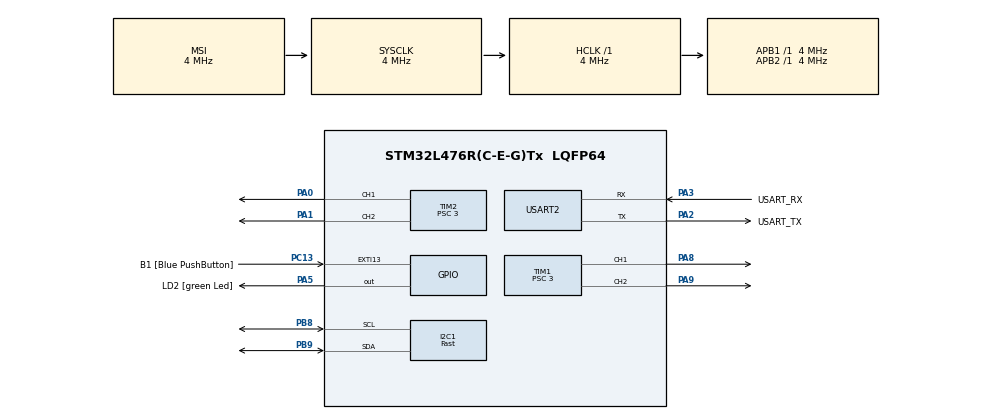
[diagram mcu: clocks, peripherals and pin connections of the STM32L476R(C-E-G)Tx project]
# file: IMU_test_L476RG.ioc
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I2C1.I2C_Speed_Mode=I2C_Fast
I2C1.Timing=0x00000003
Mcu.Family=STM32L4
Mcu.Name=STM32L476R(C-E-G)Tx
Mcu.Package=LQFP64
NVIC.PriorityGroup=NVIC_PRIORITYGROUP_4
PA0.Signal=S_TIM2_CH1
PA1.Signal=S_TIM2_CH2
PA13\ (JTMS-SWDIO).GPIO_Label=TMS
PA13\ (JTMS-SWDIO).Mode=Serial_Wire
PA13\ (JTMS-SWDIO).Signal=SYS_JTMS-SWDIO
PA14\ (JTCK-SWCLK).GPIO_Label=TCK
PA14\ (JTCK-SWCLK).Mode=Serial_Wire
PA14\ (JTCK-SWCLK).Signal=SYS_JTCK-SWCLK
PA2.GPIO_Label=USART_TX
PA2.GPIO_Mode=GPIO_MODE_AF_PP
PA2.GPIO_PuPd=GPIO_NOPULL
PA2.GPIO_Speed=GPIO_SPEED_FREQ_VERY_HIGH
PA2.Mode=Asynchronous
PA2.Signal=USART2_TX
PA3.GPIO_Label=USART_RX
PA3.GPIO_Mode=GPIO_MODE_AF_PP
PA3.GPIO_PuPd=GPIO_NOPULL
PA3.GPIO_Speed=GPIO_SPEED_FREQ_VERY_HIGH
PA3.Mode=Asynchronous
PA3.Signal=USART2_RX
PA5.GPIO_Label=LD2 [green Led]
PA5.GPIO_ModeDefaultOutputPP=GPIO_MODE_OUTPUT_PP
PA5.GPIO_PuPd=GPIO_NOPULL
PA5.GPIO_Speed=GPIO_SPEED_FREQ_LOW
PA5.Signal=GPIO_Output
PA8.Signal=S_TIM1_CH1
PA9.Signal=S_TIM1_CH2
PB3\ (JTDO-TRACESWO).GPIO_Label=SWO
PB3\ (JTDO-TRACESWO).Signal=SYS_JTDO-SWO
PB8.Mode=I2C
PB8.Signal=I2C1_SCL
PB9.Mode=I2C
PB9.Signal=I2C1_SDA
PC13.GPIO_Label=B1 [Blue PushButton]
PC13.GPIO_ModeDefaultEXTI=GPIO_MODE_IT_FALLING
PC13.GPIO_PuPd=GPIO_NOPULL
PC13.Signal=GPXTI13
PC14-OSC32_IN\ (PC14).Mode=LSE-External-Oscillator
PC14-OSC32_IN\ (PC14).Signal=RCC_OSC32_IN
PC15-OSC32_OUT\ (PC15).Mode=LSE-External-Oscillator
PC15-OSC32_OUT\ (PC15).Signal=RCC_OSC32_OUT
PH0-OSC_IN\ (PH0).Signal=RCC_OSC_IN
PH1-OSC_OUT\ (PH1).Signal=RCC_OSC_OUT
ProjectManager.HeapSize=0x200
ProjectManager.StackSize=0x400
ProjectManager.TargetToolchain=STM32CubeIDE
RCC.ADCFreq_Value=16000000
RCC.AHBFreq_Value=4000000
RCC.APB1Freq_Value=4000000
RCC.APB1TimFreq_Value=4000000
RCC.APB2Freq_Value=4000000
RCC.APB2TimFreq_Value=4000000
RCC.CortexFreq_Value=4000000
RCC.HCLKFreq_Value=4000000
RCC.HSE_VALUE=8000000
RCC.HSI_VALUE=16000000
RCC.MSI_VALUE=4000000
RCC.PREFETCH_ENABLE=1
RCC.SYSCLKFreq_VALUE=4000000
RCC.USBFreq_Value=16000000
RCC.VCOOutputFreq_Value=32000000
SH.S_TIM1_CH1.0=TIM1_CH1,PWM Generation1 CH1
SH.S_TIM1_CH2.0=TIM1_CH2,PWM Generation2 CH2
SH.S_TIM2_CH1.0=TIM2_CH1,PWM Generation1 CH1
SH.S_TIM2_CH2.0=TIM2_CH2,PWM Generation2 CH2
TIM1.Channel-PWM\ Generation1\ CH1=TIM_CHANNEL_1
TIM1.Channel-PWM\ Generation2\ CH2=TIM_CHANNEL_2
TIM1.Period=19999
TIM1.Prescaler=3
TIM2.Channel-PWM\ Generation1\ CH1=TIM_CHANNEL_1
TIM2.Channel-PWM\ Generation2\ CH2=TIM_CHANNEL_2
TIM2.Period=19999
TIM2.Prescaler=3
USART2.VirtualMode-Asynchronous=VM_ASYNC
board=NUCLEO-L476RG

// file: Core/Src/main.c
/* USER CODE BEGIN Header */
/**
  ******************************************************************************
  * @file           : main.c
  * @brief          : Main program body
  ******************************************************************************
  * @attention
  *
  * Copyright (c) 2026 STMicroelectronics.
  * All rights reserved.
  *
  * This software is licensed under terms that can be found in the LICENSE file
  * in the root directory of this software component.
  * If no LICENSE file comes with this software, it is provided AS-IS.
  *
  ******************************************************************************
  */
/* USER CODE END Header */
#include "main.h"

/* USER CODE BEGIN Includes */
#include <stdio.h>
#include <stdint.h>
#include "mpu9250.h"
#include "motor.h"
/* USER CODE END Includes */

I2C_HandleTypeDef hi2c1;

TIM_HandleTypeDef htim1;
TIM_HandleTypeDef htim2;

UART_HandleTypeDef huart2;

/* USER CODE BEGIN PV */
h_motor_t motor1;
h_motor_t motor2;
h_motor_t motor3;
h_motor_t motor4;
/* USER CODE END PV */

void SystemClock_Config(void);
static void MX_GPIO_Init(void);
static void MX_I2C1_Init(void);
static void MX_USART2_UART_Init(void);
static void MX_TIM1_Init(void);
static void MX_TIM2_Init(void);

/* USER CODE BEGIN 0 */
int __io_putchar(int ch) {
    HAL_UART_Transmit(&huart2, (uint8_t *)&ch, 1, HAL_MAX_DELAY);
    return ch;
}

// Fonctions de liaison matérielle (Wrappers)
int8_t stm32_i2c_read(uint8_t dev_addr, uint8_t reg_addr, uint8_t *data, uint16_t len) {
    if (HAL_I2C_Mem_Read(&hi2c1, dev_addr << 1, reg_addr, 1, data, len, 10) == HAL_OK) {
        return 0;
    }
    return -1;
}

int8_t stm32_i2c_write(uint8_t dev_addr, uint8_t reg_addr, uint8_t *data, uint16_t len) {
    if (HAL_I2C_Mem_Write(&hi2c1, dev_addr << 1, reg_addr, 1, data, len, 10) == HAL_OK) {
        return 0;
    }
    return -1;
}

void stm32_delay(uint32_t ms) {
    HAL_Delay(ms);
}

// Instanciation du capteur
mpu9250_t imu;
/* USER CODE END 0 */

int main(void)
{

  /* MCU Configuration--------------------------------------------------------*/

  /* Reset of all peripherals, Initializes the Flash interface and the Systick. */
  HAL_Init();

  /* Configure the system clock */
  SystemClock_Config();

  /* Initialize all configured peripherals */
  MX_GPIO_Init();
  MX_I2C1_Init();
  MX_USART2_UART_Init();
  MX_TIM1_Init();
  MX_TIM2_Init();
  /* USER CODE BEGIN 2 */
  printf("Démarrage du système...\r\n");

  // Liaison des pointeurs de fonctions
  imu.i2c_addr = MPU9250_I2C_ADDR_AD0_0; // 0x68 (changez en AD0_1 si nécessaire)
  imu.i2c_read = stm32_i2c_read;
  imu.i2c_write = stm32_i2c_write;
  imu.delay_ms = stm32_delay;

  // Initialisation (Accel 8G, Gyro 2000DPS)
  if (mpu9250_init(&imu, ACCEL_FS_8G, GYRO_FS_2000DPS) == 0) {
      printf("MPU9250 & AK8963 initialisés. DEBUT DE CALIBRATION MAG...\r\n");
      printf("TOURNEZ LE CAPTEUR DANS TOUS LES SENS PENDANT 15 SECONDES !\r\n");

      mpu9250_calibrate_mag(&imu);

      printf("Calibration terminée. Offsets: X:%.2f Y:%.2f Z:%.2f\r\n",
             imu.mag_bias[0], imu.mag_bias[1], imu.mag_bias[2]);
  }

  // MOTOR
  // 1. Link the timer and channel
  motor1.htim = &htim1;
  motor1.channel = TIM_CHANNEL_1;

  motor2.htim = &htim1;
  motor2.channel = TIM_CHANNEL_2;

  motor3.htim = &htim2;
  motor3.channel = TIM_CHANNEL_1;

  motor4.htim = &htim2;
  motor4.channel = TIM_CHANNEL_2;

  // 2. Initialize and arm the motor
  motor_Init(&motor1);
  motor_Init(&motor2);
  motor_Init(&motor3);
  motor_Init(&motor4);
  /* USER CODE END 2 */

  /* Infinite loop */
  while (1)
  {

    /* USER CODE BEGIN 3 */
	  // Lecture des capteurs
	  // 1. Mise a jour des donnees brutes (Accel, Gyro, Mag)
	      if (mpu9250_read_accel_gyro(&imu) == 0 && mpu9250_read_mag(&imu) == 0) {

	          // 2. Calcul de l'attitude (Roll, Pitch, Yaw)
	          mpu9250_compute_attitude(&imu);

	          // 3. Affichage global pour le developpeur
	          printf("--- DATA ---\r\n");
	          printf("ACC (g)   : X=%5.2f | Y=%5.2f | Z=%5.2f\r\n", imu.accel.x, imu.accel.y, imu.accel.z);
	          printf("GYR (dps) : X=%5.0f | Y=%5.0f | Z=%5.0f\r\n", imu.gyro.x, imu.gyro.y, imu.gyro.z);
	          printf("ATT (deg) : Roll=%5.1f | Pitch=%5.1f | Yaw=%5.1f\r\n\r\n", imu.attitude.roll, imu.attitude.pitch, imu.attitude.heading);

	      } else {
	          printf("Erreur de communication I2C.\r\n");
	      }

	      HAL_Delay(50); // Ajustable selon le besoin

	      // MOTOR
	      // Wait a moment
	  	  	  printf("cc ca marche\r\n");
	          HAL_Delay(5000);

	          // Ramp up to 50% power
	          motor_SetPower(&motor1, 20);
	          motor_SetPower(&motor2, 20);
	          motor_SetPower(&motor3, 20);
	          motor_SetPower(&motor4, 20);
	          printf("set power ok\r\n");

	          // Hold at 50% power for 2 seconds
	          HAL_Delay(2000);

	          // Ramp back down to 0% power
	          motor_SetPower(&motor1, 0);
	          motor_SetPower(&motor2, 0);
	          motor_SetPower(&motor3, 0);
	          motor_SetPower(&motor4, 0);

	    }
  /* USER CODE END 3 */
}

void SystemClock_Config(void)
{
  RCC_OscInitTypeDef RCC_OscInitStruct = {0};
  RCC_ClkInitTypeDef RCC_ClkInitStruct = {0};

  /** Configure the main internal regulator output voltage
  */
  if (HAL_PWREx_ControlVoltageScaling(PWR_REGULATOR_VOLTAGE_SCALE1) != HAL_OK)
  {
    Error_Handler();
  }

  /** Configure LSE Drive Capability
  */
  HAL_PWR_EnableBkUpAccess();
  __HAL_RCC_LSEDRIVE_CONFIG(RCC_LSEDRIVE_LOW);

  /** Initializes the RCC Oscillators according to the specified parameters
  * in the RCC_OscInitTypeDef structure.
  */
  RCC_OscInitStruct.OscillatorType = RCC_OSCILLATORTYPE_LSE|RCC_OSCILLATORTYPE_MSI;
  RCC_OscInitStruct.LSEState = RCC_LSE_ON;
  RCC_OscInitStruct.MSIState = RCC_MSI_ON;
  RCC_OscInitStruct.MSICalibrationValue = 0;
  RCC_OscInitStruct.MSIClockRange = RCC_MSIRANGE_6;
  RCC_OscInitStruct.PLL.PLLState = RCC_PLL_NONE;
  if (HAL_RCC_OscConfig(&RCC_OscInitStruct) != HAL_OK)
  {
    Error_Handler();
  }

  /** Initializes the CPU, AHB and APB buses clocks
  */
  RCC_ClkInitStruct.ClockType = RCC_CLOCKTYPE_HCLK|RCC_CLOCKTYPE_SYSCLK
                              |RCC_CLOCKTYPE_PCLK1|RCC_CLOCKTYPE_PCLK2;
  RCC_ClkInitStruct.SYSCLKSource = RCC_SYSCLKSOURCE_MSI;
  RCC_ClkInitStruct.AHBCLKDivider = RCC_SYSCLK_DIV1;
  RCC_ClkInitStruct.APB1CLKDivider = RCC_HCLK_DIV1;
  RCC_ClkInitStruct.APB2CLKDivider = RCC_HCLK_DIV1;

  if (HAL_RCC_ClockConfig(&RCC_ClkInitStruct, FLASH_LATENCY_0) != HAL_OK)
  {
    Error_Handler();
  }

  /** Enable MSI Auto calibration
  */
  HAL_RCCEx_EnableMSIPLLMode();
}

static void MX_I2C1_Init(void)
{

  hi2c1.Instance = I2C1;
  hi2c1.Init.Timing = 0x00000003;
  hi2c1.Init.OwnAddress1 = 0;
  hi2c1.Init.AddressingMode = I2C_ADDRESSINGMODE_7BIT;
  hi2c1.Init.DualAddressMode = I2C_DUALADDRESS_DISABLE;
  hi2c1.Init.OwnAddress2 = 0;
  hi2c1.Init.OwnAddress2Masks = I2C_OA2_NOMASK;
  hi2c1.Init.GeneralCallMode = I2C_GENERALCALL_DISABLE;
  hi2c1.Init.NoStretchMode = I2C_NOSTRETCH_DISABLE;
  if (HAL_I2C_Init(&hi2c1) != HAL_OK)
  {
    Error_Handler();
  }

  /** Configure Analogue filter
  */
  if (HAL_I2CEx_ConfigAnalogFilter(&hi2c1, I2C_ANALOGFILTER_ENABLE) != HAL_OK)
  {
    Error_Handler();
  }

  /** Configure Digital filter
  */
  if (HAL_I2CEx_ConfigDigitalFilter(&hi2c1, 0) != HAL_OK)
  {
    Error_Handler();
  }

}

static void MX_TIM1_Init(void)
{

  TIM_MasterConfigTypeDef sMasterConfig = {0};
  TIM_OC_InitTypeDef sConfigOC = {0};
  TIM_BreakDeadTimeConfigTypeDef sBreakDeadTimeConfig = {0};

  htim1.Instance = TIM1;
  htim1.Init.Prescaler = 3;
  htim1.Init.CounterMode = TIM_COUNTERMODE_UP;
  htim1.Init.Period = 19999;
  htim1.Init.ClockDivision = TIM_CLOCKDIVISION_DIV1;
  htim1.Init.RepetitionCounter = 0;
  htim1.Init.AutoReloadPreload = TIM_AUTORELOAD_PRELOAD_DISABLE;
  if (HAL_TIM_PWM_Init(&htim1) != HAL_OK)
  {
    Error_Handler();
  }
  sMasterConfig.MasterOutputTrigger = TIM_TRGO_RESET;
  sMasterConfig.MasterOutputTrigger2 = TIM_TRGO2_RESET;
  sMasterConfig.MasterSlaveMode = TIM_MASTERSLAVEMODE_DISABLE;
  if (HAL_TIMEx_MasterConfigSynchronization(&htim1, &sMasterConfig) != HAL_OK)
  {
    Error_Handler();
  }
  sConfigOC.OCMode = TIM_OCMODE_PWM1;
  sConfigOC.Pulse = 0;
  sConfigOC.OCPolarity = TIM_OCPOLARITY_HIGH;
  sConfigOC.OCNPolarity = TIM_OCNPOLARITY_HIGH;
  sConfigOC.OCFastMode = TIM_OCFAST_DISABLE;
  sConfigOC.OCIdleState = TIM_OCIDLESTATE_RESET;
  sConfigOC.OCNIdleState = TIM_OCNIDLESTATE_RESET;
  if (HAL_TIM_PWM_ConfigChannel(&htim1, &sConfigOC, TIM_CHANNEL_1) != HAL_OK)
  {
    Error_Handler();
  }
  if (HAL_TIM_PWM_ConfigChannel(&htim1, &sConfigOC, TIM_CHANNEL_2) != HAL_OK)
  {
    Error_Handler();
  }
  sBreakDeadTimeConfig.OffStateRunMode = TIM_OSSR_DISABLE;
  sBreakDeadTimeConfig.OffStateIDLEMode = TIM_OSSI_DISABLE;
  sBreakDeadTimeConfig.LockLevel = TIM_LOCKLEVEL_OFF;
  sBreakDeadTimeConfig.DeadTime = 0;
  sBreakDeadTimeConfig.BreakState = TIM_BREAK_DISABLE;
  sBreakDeadTimeConfig.BreakPolarity = TIM_BREAKPOLARITY_HIGH;
  sBreakDeadTimeConfig.BreakFilter = 0;
  sBreakDeadTimeConfig.Break2State = TIM_BREAK2_DISABLE;
  sBreakDeadTimeConfig.Break2Polarity = TIM_BREAK2POLARITY_HIGH;
  sBreakDeadTimeConfig.Break2Filter = 0;
  sBreakDeadTimeConfig.AutomaticOutput = TIM_AUTOMATICOUTPUT_DISABLE;
  if (HAL_TIMEx_ConfigBreakDeadTime(&htim1, &sBreakDeadTimeConfig) != HAL_OK)
  {
    Error_Handler();
  }
  HAL_TIM_MspPostInit(&htim1);

}

static void MX_TIM2_Init(void)
{

  TIM_MasterConfigTypeDef sMasterConfig = {0};
  TIM_OC_InitTypeDef sConfigOC = {0};

  htim2.Instance = TIM2;
  htim2.Init.Prescaler = 3;
  htim2.Init.CounterMode = TIM_COUNTERMODE_UP;
  htim2.Init.Period = 19999;
  htim2.Init.ClockDivision = TIM_CLOCKDIVISION_DIV1;
  htim2.Init.AutoReloadPreload = TIM_AUTORELOAD_PRELOAD_DISABLE;
  if (HAL_TIM_PWM_Init(&htim2) != HAL_OK)
  {
    Error_Handler();
  }
  sMasterConfig.MasterOutputTrigger = TIM_TRGO_RESET;
  sMasterConfig.MasterSlaveMode = TIM_MASTERSLAVEMODE_DISABLE;
  if (HAL_TIMEx_MasterConfigSynchronization(&htim2, &sMasterConfig) != HAL_OK)
  {
    Error_Handler();
  }
  sConfigOC.OCMode = TIM_OCMODE_PWM1;
  sConfigOC.Pulse = 0;
  sConfigOC.OCPolarity = TIM_OCPOLARITY_HIGH;
  sConfigOC.OCFastMode = TIM_OCFAST_DISABLE;
  if (HAL_TIM_PWM_ConfigChannel(&htim2, &sConfigOC, TIM_CHANNEL_1) != HAL_OK)
  {
    Error_Handler();
  }
  if (HAL_TIM_PWM_ConfigChannel(&htim2, &sConfigOC, TIM_CHANNEL_2) != HAL_OK)
  {
    Error_Handler();
  }
  HAL_TIM_MspPostInit(&htim2);

}

static void MX_USART2_UART_Init(void)
{

  huart2.Instance = USART2;
  huart2.Init.BaudRate = 115200;
  huart2.Init.WordLength = UART_WORDLENGTH_8B;
  huart2.Init.StopBits = UART_STOPBITS_1;
  huart2.Init.Parity = UART_PARITY_NONE;
  huart2.Init.Mode = UART_MODE_TX_RX;
  huart2.Init.HwFlowCtl = UART_HWCONTROL_NONE;
  huart2.Init.OverSampling = UART_OVERSAMPLING_16;
  huart2.Init.OneBitSampling = UART_ONE_BIT_SAMPLE_DISABLE;
  huart2.AdvancedInit.AdvFeatureInit = UART_ADVFEATURE_NO_INIT;
  if (HAL_UART_Init(&huart2) != HAL_OK)
  {
    Error_Handler();
  }

}

static void MX_GPIO_Init(void)
{
  GPIO_InitTypeDef GPIO_InitStruct = {0};

  /* GPIO Ports Clock Enable */
  __HAL_RCC_GPIOC_CLK_ENABLE();
  __HAL_RCC_GPIOH_CLK_ENABLE();
  __HAL_RCC_GPIOA_CLK_ENABLE();
  __HAL_RCC_GPIOB_CLK_ENABLE();

  /*Configure GPIO pin Output Level */
  HAL_GPIO_WritePin(LD2_GPIO_Port, LD2_Pin, GPIO_PIN_RESET);

  /*Configure GPIO pin : B1_Pin */
  GPIO_InitStruct.Pin = B1_Pin;
  GPIO_InitStruct.Mode = GPIO_MODE_IT_FALLING;
  GPIO_InitStruct.Pull = GPIO_NOPULL;
  HAL_GPIO_Init(B1_GPIO_Port, &GPIO_InitStruct);

  /*Configure GPIO pin : LD2_Pin */
  GPIO_InitStruct.Pin = LD2_Pin;
  GPIO_InitStruct.Mode = GPIO_MODE_OUTPUT_PP;
  GPIO_InitStruct.Pull = GPIO_NOPULL;
  GPIO_InitStruct.Speed = GPIO_SPEED_FREQ_LOW;
  HAL_GPIO_Init(LD2_GPIO_Port, &GPIO_InitStruct);

}

void Error_Handler(void)
{
  __disable_irq();
  while (1)
  {
  }
}
